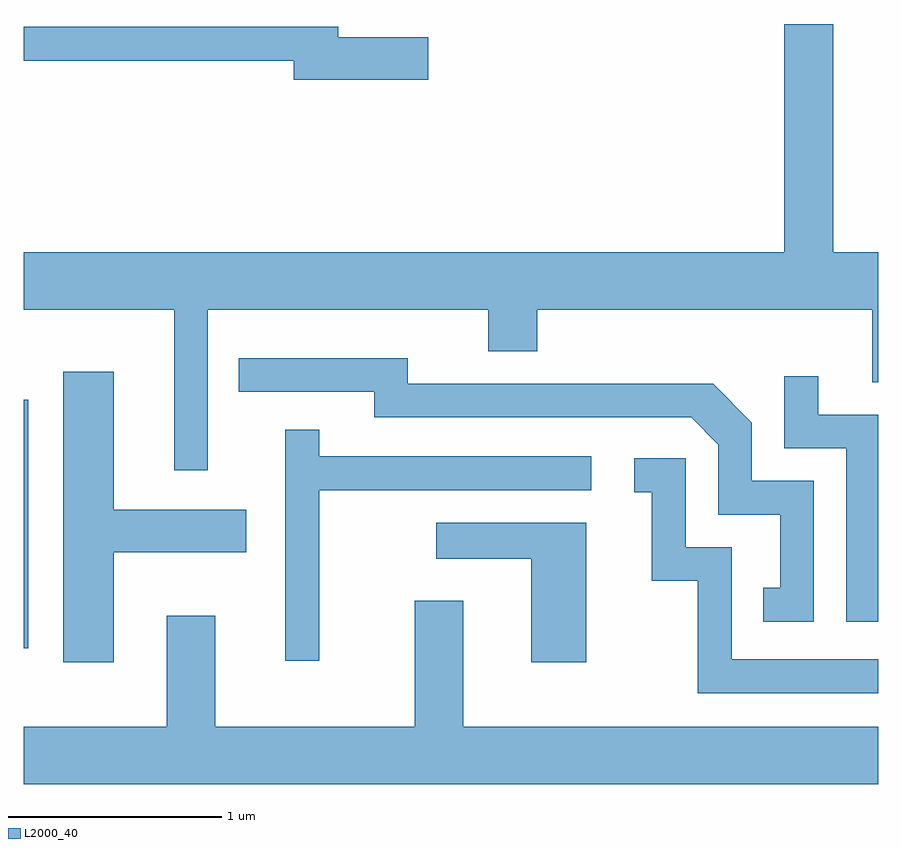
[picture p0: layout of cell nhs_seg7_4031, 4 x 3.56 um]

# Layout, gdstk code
import gdstk
lib = gdstk.Library(unit=1e-6, precision=1e-09)
def R(c, l, rs):  # rectangles x0, y0, x1, y1
    for r in rs: c.add(gdstk.rectangle(r[:2], r[2:], *l))
def P(c, l, *ps):  # polygons
    for p in ps: c.add(gdstk.Polygon(p, *l))
L2000_40 = (2000, 40)

nhs_seg7_4031 = lib.new_cell('nhs_seg7_4031')
R(nhs_seg7_4031, L2000_40, [(307.611,1779.331,307.634,1780.494)])
P(nhs_seg7_4031, L2000_40, [(308.474,1780.916),(309.786,1780.916),(309.786,1780.721),(310.014,1780.721),(310.014,1780.916),(311.581,1780.916),(311.581,1780.576),(311.611,1780.576),(311.611,1781.184),(311.399,1781.184),(311.399,1782.252),(311.171,1782.252),(311.171,1781.184),(307.611,1781.184),(307.611,1780.916),(308.316,1780.916),(308.316,1780.163),(308.474,1780.163)],
  [(309.504,1782.189),(309.084,1782.189),(309.084,1782.239),(307.611,1782.239),(307.611,1782.081),(308.876,1782.081),(308.876,1781.991),(309.504,1781.991)],
  [(311.309,1780.114),(311.019,1780.114),(311.019,1780.387),(310.837,1780.569),(309.409,1780.569),(309.409,1780.689),(308.618,1780.689),(308.618,1780.531),(309.251,1780.531),(309.251,1780.411),(310.734,1780.411),(310.861,1780.284),(310.861,1779.956),(311.151,1779.956),(311.151,1779.614),(311.073,1779.614),(311.073,1779.456),(311.309,1779.456)],
  [(308.034,1779.781),(308.654,1779.781),(308.654,1779.979),(308.034,1779.979),(308.034,1780.624),(307.796,1780.624),(307.796,1779.266),(308.034,1779.266)],
  [(311.611,1780.424),(311.329,1780.424),(311.329,1780.603),(311.171,1780.603),(311.171,1780.266),(311.461,1780.266),(311.461,1779.456),(311.611,1779.456)],
  [(308.994,1780.071),(310.268,1780.071),(310.268,1780.229),(308.994,1780.229),(308.994,1780.353),(308.836,1780.353),(308.836,1779.273),(308.994,1779.273)],
  [(311.611,1779.279),(310.924,1779.279),(310.924,1779.804),(310.709,1779.804),(310.709,1780.219),(310.468,1780.219),(310.468,1780.061),(310.551,1780.061),(310.551,1779.646),(310.766,1779.646),(310.766,1779.121),(311.611,1779.121)],
  [(310.244,1779.919),(309.543,1779.919),(309.543,1779.751),(309.986,1779.751),(309.986,1779.266),(310.244,1779.266)],
  [(311.611,1778.964),(309.669,1778.964),(309.669,1779.554),(309.441,1779.554),(309.441,1778.964),(308.509,1778.964),(308.509,1779.484),(308.281,1779.484),(308.281,1778.964),(307.611,1778.964),(307.611,1778.696),(311.611,1778.696)])

lib.write_gds('nhs_seg7_4031.gds')
